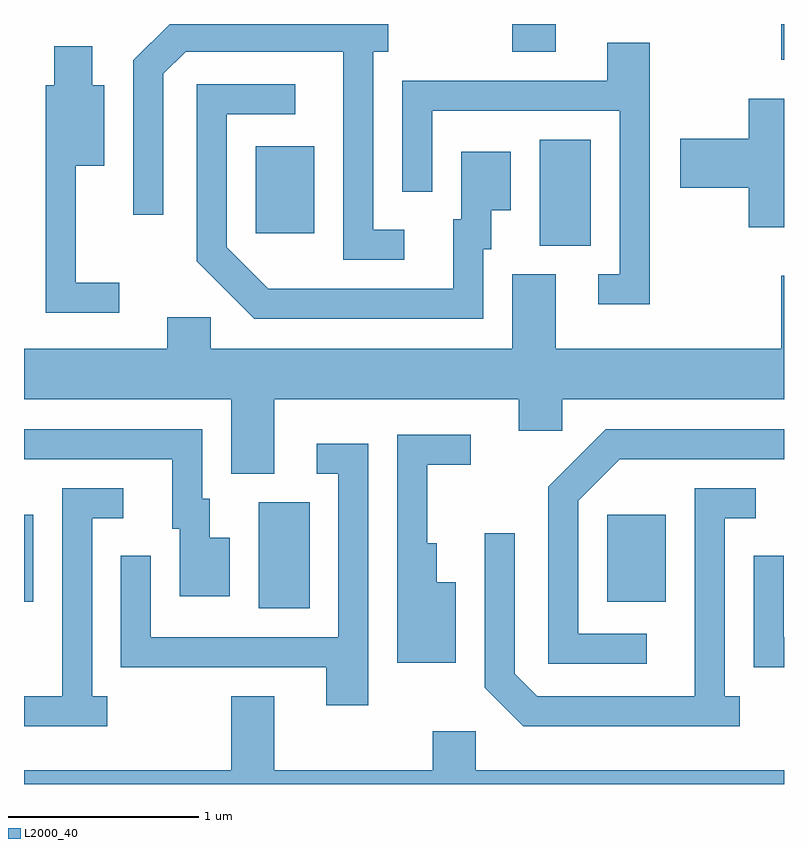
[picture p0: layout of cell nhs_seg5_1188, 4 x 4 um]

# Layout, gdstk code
import gdstk
lib = gdstk.Library(unit=1e-6, precision=1e-09)
def R(c, l, rs):  # rectangles x0, y0, x1, y1
    for r in rs: c.add(gdstk.rectangle(r[:2], r[2:], *l))
def P(c, l, *ps):  # polygons
    for p in ps: c.add(gdstk.Polygon(p, *l))
L2000_40 = (2000, 40)

nhs_seg5_1188 = lib.new_cell('nhs_seg5_1188')
R(nhs_seg5_1188, L2000_40, [(220.846,1488.996,221.114,1489.554), (219.611,1489.031,219.659,1489.489), (222.681,1489.031,222.989,1489.489), (222.326,1490.906,222.594,1491.464), (220.831,1490.971,221.139,1491.429), (223.596,1491.883,223.611,1492.072), (222.181,1491.926,222.409,1492.072)])
P(nhs_seg5_1188, L2000_40, [(221.613,1490.989),(221.449,1490.989),(221.449,1491.926),(221.528,1491.926),(221.528,1492.072),(220.377,1492.072),(220.186,1491.882),(220.186,1491.068),(220.344,1491.068),(220.344,1491.809),(220.462,1491.926),(221.291,1491.926),(221.291,1490.831),(221.613,1490.831)],
  [(222.904,1491.974),(222.681,1491.974),(222.681,1491.774),(221.601,1491.774),(221.601,1491.188),(221.759,1491.188),(221.759,1491.616),(222.746,1491.616),(222.746,1490.754),(222.633,1490.754),(222.633,1490.596),(222.904,1490.596)],
  [(220.113,1490.709),(219.884,1490.709),(219.884,1491.326),(220.034,1491.326),(220.034,1491.749),(219.969,1491.749),(219.969,1491.954),(219.771,1491.954),(219.771,1491.749),(219.726,1491.749),(219.726,1490.551),(220.113,1490.551)],
  [(222.029,1490.886),(222.069,1490.886),(222.069,1491.091),(222.174,1491.091),(222.174,1491.399),(221.911,1491.399),(221.911,1491.044),(221.871,1491.044),(221.871,1490.679),(220.897,1490.679),(220.679,1490.897),(220.679,1491.596),(221.038,1491.596),(221.038,1491.754),(220.521,1491.754),(220.521,1490.824),(220.824,1490.521),(222.029,1490.521)],
  [(223.611,1491.679),(223.426,1491.679),(223.426,1491.469),(223.066,1491.469),(223.066,1491.211),(223.426,1491.211),(223.426,1491.001),(223.611,1491.001)],
  [(220.929,1490.096),(222.216,1490.096),(222.216,1489.931),(222.444,1489.931),(222.444,1490.096),(223.611,1490.096),(223.611,1490.748),(223.596,1490.748),(223.596,1490.364),(222.409,1490.364),(222.409,1490.754),(222.181,1490.754),(222.181,1490.364),(220.594,1490.364),(220.594,1490.529),(220.366,1490.529),(220.366,1490.364),(219.611,1490.364),(219.611,1490.096),(220.701,1490.096),(220.701,1489.706),(220.929,1489.706)],
  [(222.888,1488.864),(222.529,1488.864),(222.529,1489.564),(222.747,1489.781),(223.611,1489.781),(223.611,1489.939),(222.674,1489.939),(222.371,1489.637),(222.371,1488.706),(222.888,1488.706)],
  [(220.694,1489.369),(220.589,1489.369),(220.589,1489.574),(220.549,1489.574),(220.549,1489.939),(219.611,1489.939),(219.611,1489.781),(220.391,1489.781),(220.391,1489.416),(220.431,1489.416),(220.431,1489.061),(220.694,1489.061)],
  [(221.884,1489.134),(221.784,1489.134),(221.784,1489.339),(221.734,1489.339),(221.734,1489.751),(221.963,1489.751),(221.963,1489.909),(221.576,1489.909),(221.576,1488.711),(221.884,1488.711)],
  [(221.424,1489.864),(221.153,1489.864),(221.153,1489.706),(221.266,1489.706),(221.266,1488.844),(220.279,1488.844),(220.279,1489.273),(220.121,1489.273),(220.121,1488.686),(221.201,1488.686),(221.201,1488.486),(221.424,1488.486)],
  [(223.378,1488.534),(223.299,1488.534),(223.299,1489.471),(223.463,1489.471),(223.463,1489.629),(223.141,1489.629),(223.141,1488.534),(222.312,1488.534),(222.194,1488.652),(222.194,1489.393),(222.036,1489.393),(222.036,1488.579),(222.239,1488.376),(223.378,1488.376)],
  [(220.048,1488.534),(219.969,1488.534),(219.969,1489.471),(220.133,1489.471),(220.133,1489.629),(219.811,1489.629),(219.811,1488.534),(219.611,1488.534),(219.611,1488.376),(220.048,1488.376)],
  [(223.611,1488.844),(223.609,1488.844),(223.609,1489.273),(223.451,1489.273),(223.451,1488.686),(223.611,1488.686)],
  [(223.611,1488.144),(221.989,1488.144),(221.989,1488.349),(221.761,1488.349),(221.761,1488.144),(220.929,1488.144),(220.929,1488.534),(220.701,1488.534),(220.701,1488.144),(219.611,1488.144),(219.611,1488.072),(223.611,1488.072)])

lib.write_gds('nhs_seg5_1188.gds')
